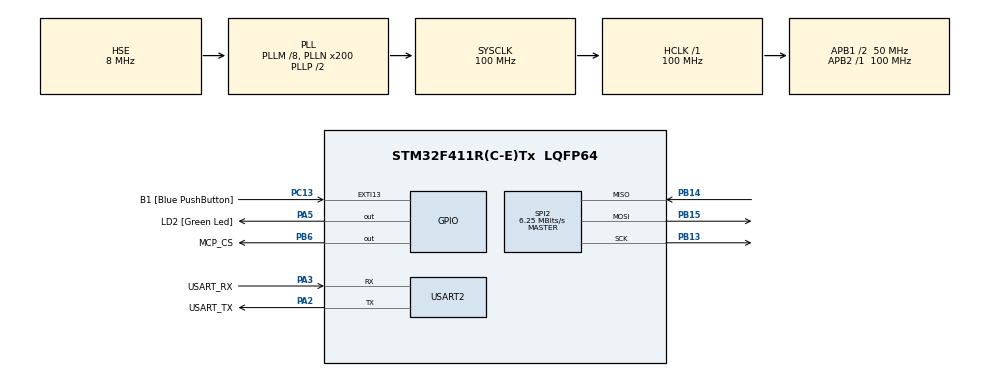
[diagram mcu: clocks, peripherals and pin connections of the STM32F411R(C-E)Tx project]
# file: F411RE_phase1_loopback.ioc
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Mcu.Family=STM32F4
Mcu.Name=STM32F411R(C-E)Tx
Mcu.Package=LQFP64
NVIC.PriorityGroup=NVIC_PRIORITYGROUP_0
PA13.GPIO_Label=TMS
PA13.Mode=Serial_Wire
PA13.Signal=SYS_JTMS-SWDIO
PA14.GPIO_Label=TCK
PA14.Mode=Serial_Wire
PA14.Signal=SYS_JTCK-SWCLK
PA2.GPIO_Label=USART_TX
PA2.Mode=Asynchronous
PA2.Signal=USART2_TX
PA3.GPIO_Label=USART_RX
PA3.Mode=Asynchronous
PA3.Signal=USART2_RX
PA5.GPIO_Label=LD2 [Green Led]
PA5.Signal=GPIO_Output
PB13.Mode=Full_Duplex_Master
PB13.Signal=SPI2_SCK
PB14.Mode=Full_Duplex_Master
PB14.Signal=SPI2_MISO
PB15.Mode=Full_Duplex_Master
PB15.Signal=SPI2_MOSI
PB3.GPIO_Label=SWO
PB3.Signal=SYS_JTDO-SWO
PB6.GPIO_Label=MCP_CS
PB6.PinState=GPIO_PIN_SET
PB6.Signal=GPIO_Output
PC13-ANTI_TAMP.GPIO_Label=B1 [Blue PushButton]
PC13-ANTI_TAMP.GPIO_ModeDefaultEXTI=GPIO_MODE_IT_FALLING
PC13-ANTI_TAMP.Signal=GPXTI13
PC14-OSC32_IN.Signal=RCC_OSC32_IN
PC15-OSC32_OUT.Signal=RCC_OSC32_OUT
PH0\ -\ OSC_IN.Mode=HSE-External-Clock-Source
PH0\ -\ OSC_IN.Signal=RCC_OSC_IN
PH1\ -\ OSC_OUT.Mode=HSE-External-Clock-Source
PH1\ -\ OSC_OUT.Signal=RCC_OSC_OUT
ProjectManager.HeapSize=0x200
ProjectManager.StackSize=0x400
ProjectManager.TargetToolchain=STM32CubeIDE
RCC.48MHZClocksFreq_Value=50000000
RCC.AHBFreq_Value=100000000
RCC.APB1CLKDivider=RCC_HCLK_DIV2
RCC.APB1Freq_Value=50000000
RCC.APB1TimFreq_Value=100000000
RCC.APB2Freq_Value=100000000
RCC.APB2TimFreq_Value=100000000
RCC.CortexFreq_Value=100000000
RCC.FLatency-AdvancedSettings=FLASH_LATENCY_3
RCC.HCLKFreq_Value=100000000
RCC.HSE_VALUE=8000000
RCC.HSI_VALUE=16000000
RCC.LSE_VALUE=32768
RCC.PLLM=8
RCC.PLLN=200
RCC.PLLSourceVirtual=RCC_PLLSOURCE_HSE
RCC.SYSCLKFreq_VALUE=100000000
RCC.SYSCLKSource=RCC_SYSCLKSOURCE_PLLCLK
RCC.VCOOutputFreq_Value=200000000
SPI2.BaudRatePrescaler=SPI_BAUDRATEPRESCALER_8
SPI2.CalculateBaudRate=6.25 MBits/s
SPI2.Direction=SPI_DIRECTION_2LINES
SPI2.Mode=SPI_MODE_MASTER
SPI2.VirtualType=VM_MASTER
USART2.VirtualMode=VM_ASYNC
board=NUCLEO-F411RE

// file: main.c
/* USER CODE BEGIN Header */
/**
  ******************************************************************************
  * @file           : main.c
  * @brief          : Main program body
  ******************************************************************************
  * @attention
  *
  * Copyright (c) 2026 STMicroelectronics.
  * All rights reserved.
  *
  * This software is licensed under terms that can be found in the LICENSE file
  * in the root directory of this software component.
  * If no LICENSE file comes with this software, it is provided AS-IS.
  *
  ******************************************************************************
  */
/* USER CODE END Header */
#include "main.h"
#include "spi.h"
#include "usart.h"
#include "gpio.h"

/* USER CODE BEGIN Includes */
#include <stdio.h>
#include <string.h>
/* USER CODE END Includes */

/* USER CODE BEGIN PD */
/* MCP2515 SPI 명령어 */
#define MCP_RESET		0xC0
#define MCP_READ		0x03
#define MCP_WRITE		0x02
#define MCP_BIT_MODIFY	0x05
#define MCP_RTS_TX0		0x81

/* MCP2515 레지스터 주소 */
#define MCP_CNF3		0x28
#define MCP_CNF2		0x29
#define MCP_CNF1		0x2A
#define MCP_CANINTF		0x2C
#define MCP_CANCTRL		0x0F
#define MCP_CANSTAT 	0x0E
#define	MCP_TXB0CTRL	0x30
#define MCP_TXB0SIDH	0x31
#define MCP_TXB0SIDL	0x32
#define MCP_TXB0DLC		0x35
#define MCP_TXB0D0		0x36
#define MCP_RXB0CTRL 	0x60
#define MCP_RXB0SIDH	0x61
#define MCP_RXB0DLC		0x65
#define MCP_RXB0D0		0x66

/* MCP_CANCTRL 모드 비트[7:5] */
#define MCP_MODE_LOOPBACK 	0x40
#define MCP_MODE_CONFIG 	0x80

#define MCP_CS_LOW() HAL_GPIO_WritePin(MCP_CS_GPIO_Port, MCP_CS_Pin, GPIO_PIN_RESET)
#define MCP_CS_HIGH() HAL_GPIO_WritePin(MCP_CS_GPIO_Port, MCP_CS_Pin, GPIO_PIN_SET)
/* USER CODE END PD */

/* USER CODE BEGIN PV */
uint32_t tx_count = 0;
uint32_t rx_count = 0;
/* USER CODE END PV */

void SystemClock_Config(void);

/* USER CODE BEGIN 0 */

//mcp2515_reset() -> 0xC0 명령으로 MCP2515 소프트 리셋
static void mcp2515_reset(void){
	uint8_t cmd = MCP_RESET;
	MCP_CS_LOW();
	HAL_SPI_Transmit(&hspi2, &cmd, 1, 10);
	MCP_CS_HIGH();
	HAL_Delay(10);
}

// mcp2515_write(reg, val) -> 레지스터 1바이트 쓰기
static void mcp2515_write(uint8_t reg, uint8_t val){
	uint8_t buf[3] = {MCP_WRITE, reg, val};
	MCP_CS_LOW();
	HAL_SPI_Transmit(&hspi2, buf, 3, 10);
	MCP_CS_HIGH();
}

// mcp2515_read(reg) -> 레지스터 1바이트 읽기(더미 0xFF와 함께 3바이트 트랜잭션)
static uint8_t mcp2515_read(uint8_t reg){
  // 3바이트인 이유
  /* SPI는 전이중: 보낸 바이트 수만큼 동시에 받는다
  * [READ, 주소, 더미] 3바이트를 보내는 동안
  * [무의미, 무의미, 데이터]가 들어옴 -> rx[2]가 실제 값*/
	uint8_t tx[3] = {MCP_READ, reg, 0xFF};
	uint8_t rx[3] = {0};
	MCP_CS_LOW();
	HAL_SPI_TransmitReceive(&hspi2, tx, rx, 3, 10);
	MCP_CS_HIGH();
	return rx[2];
}

// mcp2515_bit_modify(reg, mask, val) -> 마스크 지정 비트만 변경 (원자적 수정)
static void mcp2515_bit_modify(uint8_t reg, uint8_t mask, uint8_t val){
	uint8_t buf[4] = {MCP_BIT_MODIFY, reg, mask, val};
	MCP_CS_LOW();
	HAL_SPI_Transmit(&hspi2, buf, 4, 10);
	MCP_CS_HIGH();
}

//초기화
static void mcp2515_init_loopback(void) {
    mcp2515_reset();                            /* Config 모드 진입 */
    /*
    비트 타이밍 (8MHz 크리스탈 기준):
    TQ = Fosc / (2*(BRP+1)) = 8MHz / 2 = 4MHz
    1비트 = Sync(1) + PropSeg(2) + PhSeg1(3) + PhSeg2(2) = 8TQ
    -> 4MHz / 8 = 500kbps. F446RE쪽과 반드시 일치해야 함*/
    mcp2515_write(MCP_CNF1, 0x00);             /* BRP=0, SJW=1 */
    mcp2515_write(MCP_CNF2, 0x91);             /* PhSeg1=3TQ, PropSeg=2TQ */
    mcp2515_write(MCP_CNF3, 0x01);             /* PhSeg2=2TQ */
    mcp2515_write(MCP_RXB0CTRL, 0x60);         /* 필터 바이패스 (모든 프레임 수신) */
    mcp2515_write(MCP_CANCTRL, MCP_MODE_LOOPBACK);
    HAL_Delay(5);
}

// 프레임 전송
static void mcp2515_send_frame(uint16_t id, uint8_t *data, uint8_t len){
  /* 11비트 ID를 SIDH(상위 8비트) + SIDL[7:5](하위 3비트)로 분할
  예) 0x123 = 0b001_0010_0011 (11비트)
  상위 8비트 = 0b0010_0100 = 0x24 → SIDH
  하위 3비트 = 0b011 → SIDL[7:5] = 0b0110_0000 = 0x60 */
	mcp2515_write(MCP_TXB0SIDH, (id >> 3) & 0xFF); // ID 상위 8 비트
	mcp2515_write(MCP_TXB0SIDL, (id << 5) & 0xE0); // ID 하위 3비트 -> [7:5]에 배치
	mcp2515_write(MCP_TXB0DLC, len & 0x0F); //데이터 길이
	for(uint8_t i=0; i<len && i<8; i++){
		mcp2515_write(MCP_TXB0D0 + i, data[i]);
	}
  /* RTS(0x81): TXB0 전송 트리거 전용 단축 명령
   (TXB0CTRL에 TXREQ를 write하는 것보다 SPI 트랜잭션이 짧음)*/
	uint8_t cmd = MCP_RTS_TX0;
	MCP_CS_LOW();
	HAL_SPI_Transmit(&hspi2, &cmd, 1, 10);
	MCP_CS_HIGH();
}
/* USER CODE END 0 */

int main(void)
{

  /* MCU Configuration--------------------------------------------------------*/

  /* Reset of all peripherals, Initializes the Flash interface and the Systick. */
  HAL_Init();

  /* Configure the system clock */
  SystemClock_Config();

  /* Initialize all configured peripherals */
  MX_GPIO_Init();
  MX_SPI2_Init();
  MX_USART2_UART_Init();
  /* USER CODE BEGIN 2 */
  MCP_CS_HIGH(); // CS는 idle에서 HIGH가 기본 - 첫 트랜잭션 전에 확실히 올려둠
  HAL_Delay(10);

  mcp2515_init_loopback();

  /* 모드 전환은 '요청'일 뿐 즉시 반영 보장이 없음
  -> CANSTAT[7:5]를 읽어 Loopback(0x40) 전환 성공 여부 확인 */
  uint8_t canstat = mcp2515_read(MCP_CANSTAT);
  char init_msg[64];
  int init_len = snprintf(init_msg, sizeof(init_msg), "[F411RE] init %s (CANSTAT=0x%02x)\r\n", ((canstat & 0xE0) == MCP_MODE_LOOPBACK) ? "OK" : "FAIL", canstat);

  HAL_UART_Transmit(&huart2, (uint8_t*)init_msg, init_len, 100);

  uint32_t last_tick = 0;
  uint8_t led_state = 0;

  /* USER CODE END 2 */

  /* Infinite loop */
  /* USER CODE BEGIN WHILE */
  while (1)
  {
    // 500 ms마다 반복
    // 1. LED 토글 - LD2 blink로 동작 확인
    // 2. TX - tx_count 값(4바이트)을 ID 0x123으로 전송
    // 3. TX 완료 대기 - TXB0CTRL.TXREQ(bit3) 클리어될 때까지 최대 5ms 폴링
    // 4. UART 출력 - [F411RE] tx=N rx=N t=Xms 형식으로 PC에서 시리얼 출력

	  uint32_t now = HAL_GetTick();
	  if(now - last_tick >= 500){
		  last_tick = now;
		  led_state = !led_state;
		  HAL_GPIO_WritePin(LD2_GPIO_Port, LD2_Pin, led_state);

		  // TX
		  uint8_t tx_data[4];
		  memcpy(tx_data, &tx_count, 4);
		  mcp2515_send_frame(0x123, tx_data, 4);
		  tx_count++;

		  // TX 완료 대기 (TXB0CTRL.TXREQ 클리어 대기, 최대 5ms)
      // TXREQ(bit3)는 전송 완료 시 하드웨어가 클리어
      // 5ms 타임아웃: 버스 에러 시 무한 대기 방지
		  uint32_t t = HAL_GetTick();
		  while((mcp2515_read(MCP_TXB0CTRL) & 0x08) && (HAL_GetTick() - t < 5)) {}

		  // RX 폴링
		  if(mcp2515_read(MCP_CANINTF) & 0x01){ //RX0IF 비트
        // RX0IF를 클리어해야 다음 수신 감지 가능
        // bit_modify를 쓰는 이유: 다른 인터럽트 플래그 보존
			  uint8_t rx_data[8];
			  uint8_t rx_len = mcp2515_read(MCP_RXB0DLC) & 0x0F;
			  for (uint8_t i=0; i<rx_len && i<8; i++){
				  rx_data[i] = mcp2515_read(MCP_RXB0D0 + i);
			  }
			  mcp2515_bit_modify(MCP_CANINTF, 0x01, 0x00); //RX0IF 클리어
			  rx_count++;
		  }

		  //UART 출력
		  char msg[64];
		  int len = snprintf(msg, sizeof(msg),
		                     "[F411RE] tx=%lu rx=%lu t=%lums\r\n",
		                     tx_count, rx_count, now);
		  HAL_UART_Transmit(&huart2, (uint8_t*)msg, len, 100);
	  }
    /* USER CODE END WHILE */

  }
}

void SystemClock_Config(void)
{
  RCC_OscInitTypeDef RCC_OscInitStruct = {0};
  RCC_ClkInitTypeDef RCC_ClkInitStruct = {0};

  /** Configure the main internal regulator output voltage
  */
  __HAL_RCC_PWR_CLK_ENABLE();
  __HAL_PWR_VOLTAGESCALING_CONFIG(PWR_REGULATOR_VOLTAGE_SCALE1);

  /** Initializes the RCC Oscillators according to the specified parameters
  * in the RCC_OscInitTypeDef structure.
  */
  RCC_OscInitStruct.OscillatorType = RCC_OSCILLATORTYPE_HSE;
  RCC_OscInitStruct.HSEState = RCC_HSE_BYPASS;
  RCC_OscInitStruct.PLL.PLLState = RCC_PLL_ON;
  RCC_OscInitStruct.PLL.PLLSource = RCC_PLLSOURCE_HSE;
  RCC_OscInitStruct.PLL.PLLM = 8;
  RCC_OscInitStruct.PLL.PLLN = 200;
  RCC_OscInitStruct.PLL.PLLP = RCC_PLLP_DIV2;
  RCC_OscInitStruct.PLL.PLLQ = 4;
  if (HAL_RCC_OscConfig(&RCC_OscInitStruct) != HAL_OK)
  {
    Error_Handler();
  }

  /** Initializes the CPU, AHB and APB buses clocks
  */
  RCC_ClkInitStruct.ClockType = RCC_CLOCKTYPE_HCLK|RCC_CLOCKTYPE_SYSCLK
                              |RCC_CLOCKTYPE_PCLK1|RCC_CLOCKTYPE_PCLK2;
  RCC_ClkInitStruct.SYSCLKSource = RCC_SYSCLKSOURCE_PLLCLK;
  RCC_ClkInitStruct.AHBCLKDivider = RCC_SYSCLK_DIV1;
  RCC_ClkInitStruct.APB1CLKDivider = RCC_HCLK_DIV2;
  RCC_ClkInitStruct.APB2CLKDivider = RCC_HCLK_DIV1;

  if (HAL_RCC_ClockConfig(&RCC_ClkInitStruct, FLASH_LATENCY_3) != HAL_OK)
  {
    Error_Handler();
  }
}

void Error_Handler(void)
{
  __disable_irq();
  while (1)
  {
  }
}
